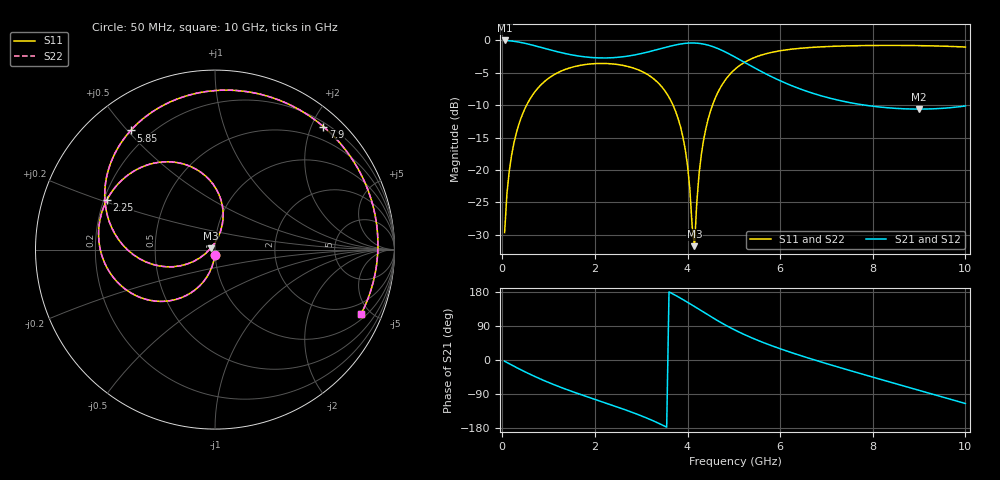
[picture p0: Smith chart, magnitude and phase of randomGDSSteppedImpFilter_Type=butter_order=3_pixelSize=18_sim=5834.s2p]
! freq	dB(S11)	phase(S11)	dB(S12)	phase(S12)
!  dB(S21)	phase(S21)	dB(S22)	phase(S22)
!S-par simulation data
#  GHz  S  DB  R 50
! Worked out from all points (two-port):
!   200 points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, 50 MHz to 10 GHz, reference 50 ohm
!   highest |S21| = -0.01 dB at 50 MHz (marker M1); lowest = -10.6 dB at 9 GHz (marker M2)
!   |S21| within 3 dB of the highest: start of sweep to 5.136 GHz
!   lowest |S11| = -31.8 dB at 4.15 GHz (marker M3), VSWR 1.05, Z = 47.6 + j0.638 ohm
!   |S11| at or under -10 dB: start of sweep to 525.4 MHz; 3.686 GHz to 4.54 GHz (853.7 MHz wide, 20.8 % of centre)
!   |S22| runs from -31.9 to -0.8 dB; largest |S21 - S12| = 0
!   S11 on the Smith chart (normalised r, x): 50 MHz: 0.99, -0.07; 2.25 GHz: 0.21, +0.21; 5.85 GHz: 0.13, +0.51; 7.9 GHz: 0.26, +2.19; 10 GHz: 1.27, -4.38
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0.05  -29.68 -93.3  -0.01 -3.3  -0.01 -3.3  -29.68 -93.3
0.1  -23.69 -96.7  -0.02 -6.6  -0.02 -6.6  -23.69 -96.7
0.2  -17.76 -103.4  -0.09 -13.1  -0.09 -13.1  -17.76 -103.4
0.5  -10.36 -122.3  -0.47 -31.7  -0.47 -31.7  -10.36 -122.3
1.05  -5.60 -152.4  -1.49 -61.9  -1.49 -61.9  -5.60 -152.4
1.75  -3.77 176.0  -2.51 -93.5  -2.51 -93.5  -3.77 176.0
2.25  -3.57 155.5  -2.71 -114.2  -2.71 -114.2  -3.57 155.5
2.9  -4.44 127.6  -2.18 -142.5  -2.18 -142.5  -4.44 127.6
3.4  -6.81 102.8  -1.31 -168.3  -1.31 -168.3  -6.81 102.7
3.9  -14.90 75.5  -0.50 159.5  -0.50 159.5  -14.91 75.4
4  -19.33 73.3  -0.42 152.3  -0.42 152.3  -19.34 73.2
4.15  -31.78 164.9  -0.40 141.2  -0.40 141.2  -31.85 165.2
4.25  -20.54 -151.6  -0.46 133.6  -0.46 133.6  -20.55 -151.5
4.4  -13.49 -154.9  -0.65 122.2  -0.65 122.2  -13.49 -154.8
4.65  -8.11 -170.1  -1.24 103.8  -1.24 103.8  -8.11 -170.1
5.05  -4.30 165.2  -2.66 77.4  -2.66 77.4  -4.30 165.2
5.85  -1.80 125.3  -5.73 36.2  -5.73 36.2  -1.80 125.3
6.7  -1.07 91.5  -8.15 1.7  -8.15 1.7  -1.07 91.5
7.9  -0.79 48.6  -10.07 -41.7  -10.07 -41.7  -0.79 48.6
8.35  -0.77 32.9  -10.42 -57.5  -10.42 -57.5  -0.77 32.9
9  -0.80 10.5  -10.61 -80.0  -10.61 -80.0  -0.80 10.5
10  -1.02 -23.9  -10.12 -114.9  -10.12 -114.9  -1.02 -23.9
